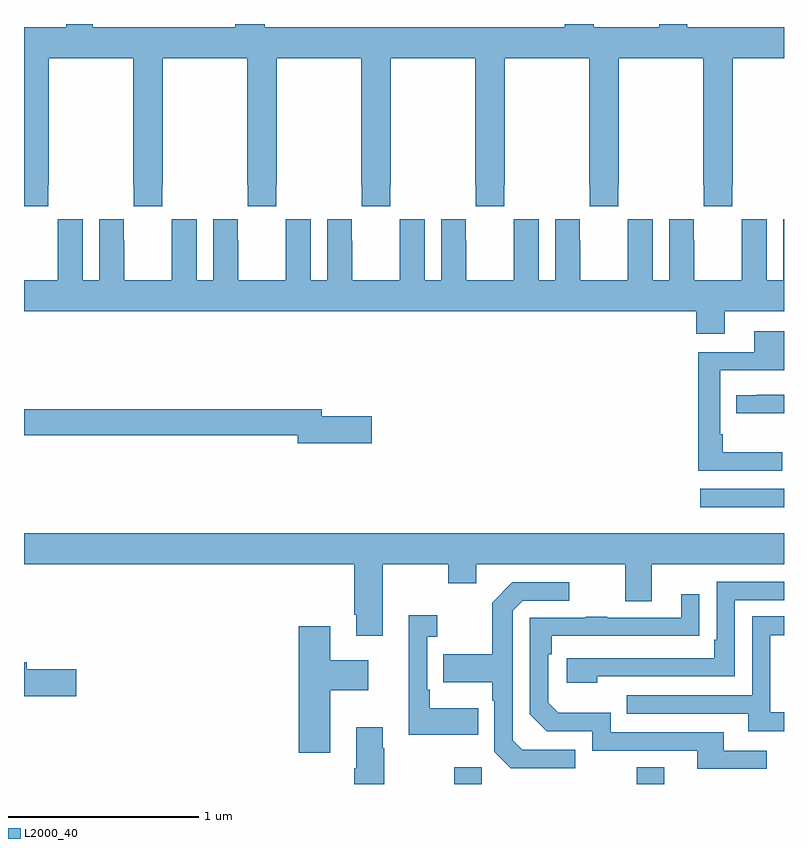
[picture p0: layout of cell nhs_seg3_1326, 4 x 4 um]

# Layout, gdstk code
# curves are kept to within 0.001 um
import gdstk
lib = gdstk.Library(unit=1e-6, precision=1e-09)
def R(c, l, rs):  # rectangles x0, y0, x1, y1
    for r in rs: c.add(gdstk.rectangle(r[:2], r[2:], *l))
def P(c, l, *ps):  # polygons
    for p in ps: c.add(gdstk.Polygon(p, *l))
L2000_40 = (2000, 40)

nhs_seg3_1326 = lib.new_cell('nhs_seg3_1326')
R(nhs_seg3_1326, L2000_40, [(181.264,726.4,181.41,726.487), (182.224,726.4,182.371,726.487), (182.559,727.856,183,727.953)])
P(nhs_seg3_1326, L2000_40, [(180.266,730.4),(180.113,730.4),(180.113,730.384),(179.361,730.384),(179.361,730.4),(179.223,730.4),(179.223,730.384),(179,730.384),(179,729.441),(179.127,729.441),(179.127,729.553),(179.13,729.553),(179.13,730.22),(179.575,730.22),(179.575,729.553),(179.577,729.553),(179.577,729.441),(179.727,729.441),(179.727,729.553),(179.73,729.553),(179.73,730.22),(180.175,730.22),(180.175,729.553),(180.177,729.553),(180.177,729.441),(180.327,729.441),(180.327,729.553),(180.33,729.553),(180.33,730.22),(180.775,730.22),(180.775,729.553),(180.777,729.553),(180.777,729.441),(180.927,729.441),(180.927,729.553),(180.93,729.553),(180.93,730.22),(181.375,730.22),(181.375,729.553),(181.377,729.553),(181.377,729.441),(181.527,729.441),(181.527,729.553),(181.53,729.553),(181.53,730.22),(181.975,730.22),(181.975,729.553),(181.977,729.553),(181.977,729.441),(182.127,729.441),(182.127,729.553),(182.13,729.553),(182.13,730.22),(182.575,730.22),(182.575,729.553),(182.577,729.553),(182.577,729.441),(182.727,729.441),(182.727,729.553),(182.73,729.553),(182.73,730.22),(183,730.22),(183,730.384),(182.491,730.384),(182.491,730.4),(182.344,730.4),(182.344,730.384),(181.999,730.384),(181.999,730.4),(181.847,730.4),(181.847,730.384),(180.266,730.384)],
  [(182.689,728.888),(183,728.888),(183,729.373),(182.996,729.373),(182.996,729.052),(182.908,729.052),(182.908,729.373),(182.778,729.373),(182.778,729.26),(182.777,729.26),(182.777,729.052),(182.527,729.052),(182.527,729.26),(182.526,729.26),(182.526,729.373),(182.396,729.373),(182.396,729.052),(182.308,729.052),(182.308,729.373),(182.178,729.373),(182.178,729.26),(182.177,729.26),(182.177,729.052),(181.927,729.052),(181.927,729.26),(181.926,729.26),(181.926,729.373),(181.796,729.373),(181.796,729.052),(181.708,729.052),(181.708,729.373),(181.578,729.373),(181.578,729.26),(181.577,729.26),(181.577,729.052),(181.327,729.052),(181.327,729.26),(181.326,729.26),(181.326,729.373),(181.196,729.373),(181.196,729.052),(181.108,729.052),(181.108,729.373),(180.978,729.373),(180.978,729.26),(180.977,729.26),(180.977,729.052),(180.727,729.052),(180.727,729.26),(180.726,729.26),(180.726,729.373),(180.596,729.373),(180.596,729.052),(180.508,729.052),(180.508,729.373),(180.378,729.373),(180.378,729.26),(180.377,729.26),(180.377,729.052),(180.127,729.052),(180.127,729.26),(180.126,729.26),(180.126,729.373),(179.996,729.373),(179.996,729.052),(179.908,729.052),(179.908,729.373),(179.778,729.373),(179.778,729.26),(179.777,729.26),(179.777,729.052),(179.527,729.052),(179.527,729.26),(179.526,729.26),(179.526,729.373),(179.396,729.373),(179.396,729.052),(179.308,729.052),(179.308,729.373),(179.178,729.373),(179.178,729.26),(179.177,729.26),(179.177,729.052),(179,729.052),(179,728.888),(182.537,728.888),(182.537,728.771),(182.689,728.771)],
  [(182.992,728.147),(182.677,728.147),(182.677,728.242),(182.664,728.242),(182.664,728.577),(183,728.577),(183,728.782),(182.843,728.782),(182.843,728.673),(182.548,728.673),(182.548,728.049),(182.992,728.049)],
  [(183,728.448),(182.857,728.448),(182.857,728.447),(182.749,728.447),(182.749,728.351),(183,728.351)],
  [(180.829,728.336),(180.568,728.336),(180.568,728.372),(179,728.372),(179,728.236),(180.44,728.236),(180.44,728.194),(180.829,728.194)],
  [(180.889,727.556),(181.234,727.556),(181.234,727.457),(181.381,727.457),(181.381,727.556),(182.165,727.556),(182.165,727.362),(182.305,727.362),(182.305,727.556),(183,727.556),(183,727.72),(179,727.72),(179,727.556),(180.737,727.556),(180.737,727.291),(180.749,727.291),(180.749,727.179),(180.889,727.179)],
  [(182.018,726.966),(182.742,726.966),(182.742,727.368),(183,727.368),(183,727.464),(182.646,727.464),(182.646,727.159),(182.633,727.159),(182.633,727.062),(181.857,727.062),(181.857,726.932),(182.018,726.932)],
  [(181.9,726.579),(181.623,726.579),(181.572,726.63),(181.572,727.311),(181.626,727.365),(181.87,727.365),(181.87,727.461),(181.569,727.461),(181.464,727.355),(181.464,727.083),(181.207,727.083),(181.207,726.935),(181.464,726.935),(181.464,726.839),(181.476,726.839),(181.476,726.57),(181.563,726.483),(181.9,726.483)],
  [(182.908,726.576),(182.683,726.576),(182.683,726.672),(182.088,726.672),(182.088,726.775),(181.811,726.775),(181.758,726.828),(181.758,727.082),(181.778,727.082),(181.778,727.179),(182.555,727.18),(182.555,727.399),(182.459,727.399),(182.459,727.275),(182.069,727.275),(182.069,727.28),(181.957,727.28),(181.957,727.275),(181.662,727.275),(181.662,726.768),(181.752,726.678),(181.992,726.678),(181.992,726.576),(182.543,726.576),(182.543,726.48),(182.908,726.48)],
  [(181.391,726.799),(181.135,726.799),(181.135,726.895),(181.122,726.895),(181.122,727.175),(181.174,727.175),(181.174,727.288),(181.025,727.288),(181.025,726.659),(181.391,726.659)],
  [(183,726.777),(182.928,726.777),(182.928,727.182),(183,727.182),(183,727.283),(182.832,727.283),(182.832,726.867),(182.173,726.867),(182.173,726.771),(182.813,726.771),(182.813,726.677),(183,726.677)],
  [(180.613,726.893),(180.811,726.893),(180.811,727.051),(180.613,727.051),(180.613,727.231),(180.446,727.231),(180.446,726.564),(180.613,726.564)],
  [(179.275,727.004),(179.014,727.004),(179.014,727.04),(179,727.04),(179,726.862),(179.275,726.862)],
  [(180.897,726.587),(180.889,726.587),(180.889,726.7),(180.749,726.7),(180.749,726.484),(180.737,726.484),(180.737,726.4),(180.897,726.4)])

lib.write_gds('nhs_seg3_1326.gds')
